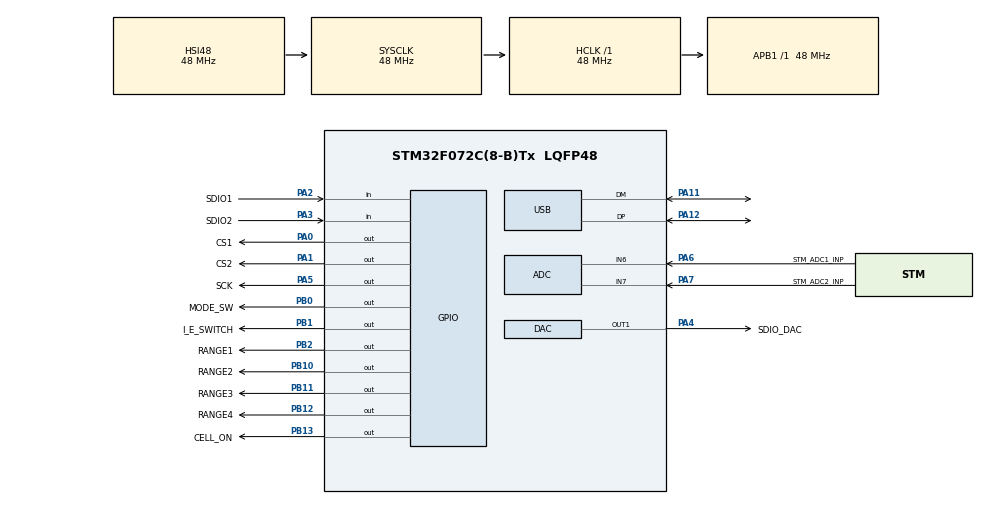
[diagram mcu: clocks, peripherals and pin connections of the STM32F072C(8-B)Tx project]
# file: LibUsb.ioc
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ADC.ContinuousConvMode=DISABLE
ADC.SamplingTime=ADC_SAMPLETIME_71CYCLES_5
Mcu.Family=STM32F0
Mcu.Name=STM32F072C(8-B)Tx
Mcu.Package=LQFP48
NVIC.ADC1_COMP_IRQn=true\:0\:0\:false\:false\:true\:true\:true
NVIC.USB_IRQn=true\:0\:0\:false\:false\:true\:true\:true
PA0.GPIO_Label=CS1
PA0.PinState=GPIO_PIN_SET
PA0.Signal=GPIO_Output
PA1.GPIO_Label=CS2
PA1.PinState=GPIO_PIN_SET
PA1.Signal=GPIO_Output
PA11.Mode=Device
PA11.Signal=USB_DM
PA12.Mode=Device
PA12.Signal=USB_DP
PA13.Mode=Serial_Wire
PA13.Signal=SYS_SWDIO
PA14.Mode=Serial_Wire
PA14.Signal=SYS_SWCLK
PA2.GPIO_Label=SDIO1
PA2.GPIO_Mode=GPIO_MODE_INPUT
PA2.GPIO_PuPd=GPIO_PULLUP
PA2.Signal=GPIO_Input
PA3.GPIO_Label=SDIO2
PA3.GPIO_Mode=GPIO_MODE_INPUT
PA3.GPIO_PuPd=GPIO_PULLUP
PA3.Signal=GPIO_Input
PA4.GPIO_Label=SDIO_DAC
PA4.Signal=COMP_DAC1_group
PA5.GPIO_Label=SCK
PA5.Signal=GPIO_Output
PA6.GPIO_Label=STM_ADC1_INP
PA6.Mode=IN6
PA6.Signal=ADC_IN6
PA7.GPIO_Label=STM_ADC2_INP
PA7.Mode=IN7
PA7.Signal=ADC_IN7
PB0.GPIO_Label=MODE_SW
PB0.Signal=GPIO_Output
PB1.GPIO_Label=I_E_SWITCH
PB1.GPIO_PuPd=GPIO_PULLDOWN
PB1.Signal=GPIO_Output
PB10.GPIO_Label=RANGE2
PB10.Signal=GPIO_Output
PB11.GPIO_Label=RANGE3
PB11.Signal=GPIO_Output
PB12.GPIO_Label=RANGE4
PB12.Signal=GPIO_Output
PB13.GPIO_Label=CELL_ON
PB13.Signal=GPIO_Output
PB2.GPIO_Label=RANGE1
PB2.Signal=GPIO_Output
PF0-OSC_IN.Mode=HSE-External-Oscillator
PF0-OSC_IN.Signal=RCC_OSC_IN
PF1-OSC_OUT.Mode=HSE-External-Oscillator
PF1-OSC_OUT.Signal=RCC_OSC_OUT
ProjectManager.HeapSize=0x800
ProjectManager.StackSize=0x400
ProjectManager.TargetToolchain=STM32CubeIDE
RCC.AHBFreq_Value=48000000
RCC.APB1Freq_Value=48000000
RCC.APB1TimFreq_Value=48000000
RCC.HCLKFreq_Value=48000000
RCC.PLLMUL=RCC_PLL_MUL6
RCC.PLLSourceVirtual=RCC_PLLSOURCE_HSE
RCC.SYSCLKFreq_VALUE=48000000
RCC.SYSCLKSource=RCC_SYSCLKSOURCE_HSI48
SH.COMP_DAC1_group.0=DAC_OUT1,DAC_OUT1
TIM1.Period=0xFFFF-1
TIM1.Prescaler=1-1
USB_DEVICE.CLASS_NAME_FS=CDC
USB_DEVICE.PID_CDC_FS=0x0003
USB_DEVICE.PRODUCT_STRING_CDC_FS=OESP_STM
USB_DEVICE.VID=0xA0A0
USB_DEVICE.VirtualMode=Cdc
USB_DEVICE.VirtualModeFS=Cdc_FS
VP_TIM1_VS_ClockSourceINT.Mode=Internal
VP_USB_DEVICE_VS_USB_DEVICE_CDC_FS.Mode=CDC_FS
board=custom

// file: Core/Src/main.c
/* USER CODE BEGIN Header */
/**
  ******************************************************************************
  * @file           : main.c
  * @brief          : Main program body
  ******************************************************************************
  * @attention
  *
  * <h2><center>&copy; Copyright (c) 2022 STMicroelectronics.
  * All rights reserved.</center></h2>
  *
  * This software component is licensed by ST under Ultimate Liberty license
  * SLA0044, the "License"; You may not use this file except in compliance with
  * the License. You may obtain a copy of the License at:
  *                             www.st.com/SLA0044
  *
  ******************************************************************************
  */
/* USER CODE END Header */
#include "main.h"
#include "usb_device.h"

/* USER CODE BEGIN Includes */
#include "spi_software.h"
#include "HEFlash.h"
#include "string.h"
#include "usbd_cdc_if.h"
/* USER CODE END Includes */

/* USER CODE BEGIN PD */
#define HEFLASH_SIZE  32
#define ADC_INTERNAL  false
#define V_Ref     (float) 2.5
/* USER CODE END PD */

ADC_HandleTypeDef hadc;

DAC_HandleTypeDef hdac;

TIM_HandleTypeDef htim1;

/* USER CODE BEGIN PV */

typedef enum Adc_Interal{
	V_MEASURE = 0U,
	I_MEASURE,
	WAIT_MEASURE
};

uint8_t adc_Internal[6];
enum Adc_Interal adcConvert = WAIT_MEASURE;
bool isActiveAdcInternal = false;
volatile bool isUpdate = true;
static const uint8_t* received_data;
static uint8_t received_data_length;
static uint8_t transmit_data[128];
static uint8_t transmit_data_length;
static uint8_t heflashbuffer[HEFLASH_SIZE];
extern uint8_t isRecvData;
extern uint8_t UserRxBufferFS[APP_RX_DATA_SIZE];
extern uint8_t recvDataLen;
volatile uint32_t adc_value = 0U;

/* USER CODE END PV */

void SystemClock_Config(void);
static void MX_GPIO_Init(void);
static void MX_TIM1_Init(void);
static void MX_ADC_Init(void);
static void MX_DAC_Init(void);

/* USER CODE BEGIN 0 */
void Adc_read_V_Measure(void)
{
  ADC_ChannelConfTypeDef sConfig = {0};
  sConfig.Channel = ADC_CHANNEL_6;
  sConfig.Rank = ADC_RANK_CHANNEL_NUMBER;
  sConfig.SamplingTime = ADC_SAMPLETIME_71CYCLES_5;
  if (HAL_ADC_ConfigChannel(&hadc, &sConfig) != HAL_OK)
  {
    Error_Handler();
  }
}

void Adc_read_I_Measure(void)
{
  ADC_ChannelConfTypeDef sConfig = {0};
  sConfig.Channel = ADC_CHANNEL_7;
  sConfig.Rank = ADC_RANK_CHANNEL_NUMBER;
  sConfig.SamplingTime = ADC_SAMPLETIME_71CYCLES_5;
  if (HAL_ADC_ConfigChannel(&hadc, &sConfig) != HAL_OK)
  {
    Error_Handler();
  }
}

void InitializeIO()
{
	HAL_TIM_Base_Start(&htim1);
	HAL_GPIO_WritePin(MODE_SW_GPIO_Port, MODE_SW_Pin, GPIO_PIN_RESET); // initialize mode to potentiostatic
	HAL_GPIO_WritePin(CELL_ON_GPIO_Port, CELL_ON_Pin, GPIO_PIN_SET);// initialize cell to off position
	HAL_GPIO_WritePin(RANGE1_GPIO_Port, RANGE1_Pin, GPIO_PIN_RESET); // initialize range to range 1
	HAL_GPIO_WritePin(RANGE2_GPIO_Port, RANGE2_Pin, GPIO_PIN_SET);
	HAL_GPIO_WritePin(RANGE3_GPIO_Port, RANGE3_Pin, GPIO_PIN_SET);
	HAL_GPIO_WritePin(RANGE4_GPIO_Port, RANGE4_Pin, GPIO_PIN_SET);
	InitializeSPI();
	HAL_Delay(25); // power-up delay - necessary for DAC1220
	DAC1220_Reset();
	HAL_Delay(25);
	DAC1220_Init();
	HEFLASH_readBlock(heflashbuffer, 2, HEFLASH_SIZE); // get dac calibration
	DAC1220_Write3Bytes(8, heflashbuffer[0], heflashbuffer[1], heflashbuffer[2]); // apply dac calibration
	DAC1220_Write3Bytes(12, heflashbuffer[3], heflashbuffer[4], heflashbuffer[5]);
}

void command_unknown()
{
	const uint8_t* reply = "?";
    strcpy(transmit_data, reply);
    transmit_data_length = strlen(reply);
}

void send_OK()
{
	const uint8_t* reply = "OK";
    strcpy(transmit_data, reply);
    transmit_data_length = strlen(reply);
}

void command_cell_on()
{
	HAL_GPIO_WritePin(CELL_ON_GPIO_Port, CELL_ON_Pin, GPIO_PIN_RESET);
	send_OK();
}

void command_cell_off()
{
	HAL_GPIO_WritePin(CELL_ON_GPIO_Port, CELL_ON_Pin, GPIO_PIN_SET);
	send_OK();
}

void command_mode_potentiostatic()
{
	HAL_GPIO_WritePin(MODE_SW_GPIO_Port, MODE_SW_Pin, GPIO_PIN_RESET);
	send_OK();
}

void command_mode_galvanostatic()
{
	HAL_GPIO_WritePin(MODE_SW_GPIO_Port, MODE_SW_Pin, GPIO_PIN_SET);
	send_OK();
}

void command_range1()
{
    HAL_GPIO_WritePin(RANGE1_GPIO_Port, RANGE1_Pin, GPIO_PIN_RESET);
    HAL_Delay(10); // make the new relay setting before breaking the old one
    HAL_GPIO_WritePin(RANGE2_GPIO_Port, RANGE2_Pin, GPIO_PIN_SET);
    HAL_GPIO_WritePin(RANGE3_GPIO_Port, RANGE3_Pin, GPIO_PIN_SET);
    HAL_GPIO_WritePin(RANGE4_GPIO_Port, RANGE4_Pin, GPIO_PIN_SET);
	send_OK();
}

void command_range2()
{
    HAL_GPIO_WritePin(RANGE2_GPIO_Port, RANGE2_Pin, GPIO_PIN_RESET);
    HAL_Delay(10); // make the new relay setting before breaking the old one
    HAL_GPIO_WritePin(RANGE1_GPIO_Port, RANGE1_Pin, GPIO_PIN_SET);
    HAL_GPIO_WritePin(RANGE3_GPIO_Port, RANGE3_Pin, GPIO_PIN_SET);
    HAL_GPIO_WritePin(RANGE4_GPIO_Port, RANGE4_Pin, GPIO_PIN_SET);
	send_OK();
}

void command_range3()
{
    HAL_GPIO_WritePin(RANGE3_GPIO_Port, RANGE3_Pin, GPIO_PIN_RESET);
    HAL_Delay(10); // make the new relay setting before breaking the old one
    HAL_GPIO_WritePin(RANGE1_GPIO_Port, RANGE1_Pin, GPIO_PIN_SET);
    HAL_GPIO_WritePin(RANGE2_GPIO_Port, RANGE2_Pin, GPIO_PIN_SET);
    HAL_GPIO_WritePin(RANGE4_GPIO_Port, RANGE4_Pin, GPIO_PIN_SET);
	  send_OK();
}

void command_range4()
{
    HAL_GPIO_WritePin(RANGE4_GPIO_Port, RANGE4_Pin, GPIO_PIN_RESET);
    HAL_Delay(10); // make the new relay setting before breaking the old one
    HAL_GPIO_WritePin(RANGE1_GPIO_Port, RANGE1_Pin, GPIO_PIN_SET);
    HAL_GPIO_WritePin(RANGE2_GPIO_Port, RANGE2_Pin, GPIO_PIN_SET);
    HAL_GPIO_WritePin(RANGE3_GPIO_Port, RANGE3_Pin, GPIO_PIN_SET);
	send_OK();
}

void command_set_dac_Internal(const uint8_t* dac_data)
{
	uint32_t code = 0x00;
	float dacOut;
	code |= dac_data[0]<<12;
	code |= dac_data[1]<<4;
	code |= dac_data[2]>>4;
	dacOut = (2*V_Ref*code);
	dacOut = dacOut/pow(2,20);
	HAL_DAC_SetValue(&hdac, DAC_CHANNEL_1, DAC_ALIGN_12B_R, (uint32_t)(dacOut));
	send_OK();
}

void command_set_dac(const uint8_t* dac_data)
{
	DAC1220_Write3Bytes(0, dac_data[0], dac_data[1], dac_data[2]);
	send_OK();
}

void command_calibrate_dac()
{
	DAC1220_SelfCal();
	HAL_Delay(500); // wait until calibration is finished
	uint8_t data[6];
	DAC1220_Read3Bytes(8, data, data+1, data+2); // get calibration data
	DAC1220_Read3Bytes(12, data+3, data+4, data+5);
	HEFLASH_writeBlock(2, data, 6); // save calibration data to HEFLASH
	send_OK();
}

void command_read_adc_Internal()
{
  transmit_data_length = 6;
  memcpy(transmit_data, adc_Internal, transmit_data_length);
}

void command_read_adc()
{
	uint8_t adc_data[6];
	if(MCP3550_Read(adc_data))
	{
		transmit_data_length=6;
		memcpy(transmit_data, adc_data, transmit_data_length);
	}
	else
	{
		const uint8_t* reply = "WAIT";
		strcpy(transmit_data, reply);
		transmit_data_length = strlen(reply);
	}
}

void command_read_offset()
{
	HEFLASH_readBlock(heflashbuffer, 1, HEFLASH_SIZE);
	transmit_data_length=6;
	memcpy(transmit_data, heflashbuffer, transmit_data_length);
}

void command_save_offset(const uint8_t* offset_data)
{
	HEFLASH_writeBlock(1, offset_data, 6);
}

void command_read_shuntcalibration()
{
	HEFLASH_readBlock(heflashbuffer, 3, HEFLASH_SIZE);
	transmit_data_length=8;
	memcpy(transmit_data, heflashbuffer, transmit_data_length);
}

void command_save_shuntcalibration(const uint8_t* shuntcalibration_data)
{
	HEFLASH_writeBlock(3, shuntcalibration_data, 8);
	send_OK();
}

void command_read_dac_cal()
{
	HEFLASH_readBlock(heflashbuffer, 2, HEFLASH_SIZE);
	transmit_data_length = 6;
	memcpy(transmit_data, heflashbuffer, transmit_data_length);
}

void command_set_dac_cal(const uint8_t* dac_cal_data)
{
	HEFLASH_writeBlock(2, dac_cal_data, 6);
	DAC1220_Write3Bytes(8, dac_cal_data[0], dac_cal_data[1], dac_cal_data[2]);
	DAC1220_Write3Bytes(12, dac_cal_data[3], dac_cal_data[4], dac_cal_data[5]);
	send_OK();
}

void interpret_command() {
	if (received_data_length == 7 && strncmp(received_data,"CELL ON",7) == 0)
        command_cell_on();
    else if (received_data_length == 8 && strncmp(received_data,"CELL OFF",8) == 0)
        command_cell_off();
    else if (received_data_length == 14 && strncmp(received_data,"POTENTIOSTATIC",14) == 0)
        command_mode_potentiostatic();
    else if (received_data_length == 13 && strncmp(received_data,"GALVANOSTATIC",13) == 0)
        command_mode_galvanostatic();
    else if (received_data_length == 7 && strncmp(received_data,"RANGE 1",7) == 0)
        command_range1();
    else if (received_data_length == 7 && strncmp(received_data,"RANGE 2",7) == 0)
        command_range2();
    else if (received_data_length == 7 && strncmp(received_data,"RANGE 3",7) == 0)
        command_range3();
    else if (received_data_length == 7 && strncmp(received_data,"RANGE 4",7) == 0)
        command_range4();
    else if (received_data_length == 10 && strncmp(received_data,"DACSET ",7) == 0)
#if ADC_INTERNAL
    	command_set_dac_Internal(received_data+7);
#else
      command_set_dac(received_data+7);
#endif
    else if (received_data_length == 6 && strncmp(received_data,"DACCAL",6) == 0)
    	command_calibrate_dac();
    else if (received_data_length == 7 && strncmp(received_data,"ADCREAD",7) == 0)
#if ADC_INTERNAL
    	command_read_adc_Internal();
#else
      command_read_adc();
#endif
    else if (received_data_length == 10 && strncmp(received_data,"OFFSETREAD",10) == 0)
    	command_read_offset();
    else if (received_data_length == 17 && strncmp(received_data,"OFFSETSAVE ",11) == 0)
    	command_save_offset(received_data+11);
    else if (received_data_length == 9 && strncmp(received_data,"DACCALGET",9) == 0)
    	command_read_dac_cal();
    else if (received_data_length == 16 && strncmp(received_data,"DACCALSET ",10) == 0)
    	command_set_dac_cal(received_data+10);
    else if (received_data_length == 12 && strncmp(received_data,"SHUNTCALREAD",12) == 0)
    	command_read_shuntcalibration();
    else if (received_data_length == 19 && strncmp(received_data,"SHUNTCALSAVE ",13) == 0)
    	command_save_shuntcalibration(received_data+13);
    else
        command_unknown();
}

void HAL_ADC_ConvCpltCallback(ADC_HandleTypeDef* hadc)
{
	adc_value = HAL_ADC_GetValue(hadc);
	adc_value = adc_value*2097152/4096;
  if(adcConvert == V_MEASURE)
  {
    /* update three byte 0 1 2*/
    adc_Internal[0] =	(uint8_t) ((adc_value>>16) & 0xFF);
    adc_Internal[1] =	(uint8_t) ((adc_value>>8) & 0xFF);
    adc_Internal[2] =	(uint8_t) ((adc_value>>0) & 0xFF);
  }
  else if(adcConvert == I_MEASURE)
  {
    /* update three byte 3 4 5*/
	 adc_Internal[3] =	(uint8_t) ((adc_value>>16) & 0xFF);
	 adc_Internal[4] =	(uint8_t) ((adc_value>>8) & 0xFF);
	 adc_Internal[5] =	(uint8_t) ((adc_value>>0) & 0xFF);
  }
  isUpdate = true;
}

void updateAdcInternal(void)
{
  static uint8_t adcProcess = 0;

  if(isActiveAdcInternal == true)
  {
      if(adcProcess == 0)
      {
        adcConvert = V_MEASURE;
        adcProcess = 1;
        isUpdate = false;
        Adc_read_V_Measure();
        HAL_ADC_Start_IT(&hadc);
      }
      else if(adcProcess == 1)
      {
        if(isUpdate == true)
        {
          HAL_ADC_Stop_IT(&hadc);
          adcConvert = I_MEASURE;
          adcProcess = 2;
          isUpdate = false;
          Adc_read_I_Measure();
          HAL_ADC_Start_IT(&hadc);
        }
      }
      else if(adcProcess == 2)
      {
        if(isUpdate == true)
        {
          adcProcess = 0;
          HAL_ADC_Stop_IT(&hadc);
        }
      }
      else
      {
      }
  }
}

void isActiveAdcDacInteral(void)
{
  MX_DAC_Init();
  HAL_GPIO_WritePin(I_E_SWITCH_GPIO_Port, I_E_SWITCH_Pin, GPIO_PIN_SET);
  isActiveAdcInternal = true;
  HAL_DAC_Start(&hdac, DAC_CHANNEL_1);
}
/* USER CODE END 0 */

int main(void)
{

  /* MCU Configuration--------------------------------------------------------*/

  /* Reset of all peripherals, Initializes the Flash interface and the Systick. */
  HAL_Init();

  /* Configure the system clock */
  SystemClock_Config();

  /* Initialize all configured peripherals */
  MX_GPIO_Init();
  MX_USB_DEVICE_Init();
  MX_TIM1_Init();
  MX_ADC_Init();

  /* USER CODE BEGIN 2 */
  InitializeIO();

#if ADC_INTERNAL
  isActiveAdcDacInteral();
#endif
  /* USER CODE END 2 */

  /* Infinite loop */
  /* USER CODE BEGIN WHILE */
  while (1)
  {
	  /* Receive data */
	  if( 1U == isRecvData)
	  {
		 /* clear flag */
		  isRecvData = 0U;

		  /* get memory length of received data */
		  received_data_length = recvDataLen;

		  /* get memory location of received data*/
		  received_data = UserRxBufferFS;

		  interpret_command();

		  CDC_Transmit_FS(transmit_data, transmit_data_length);
	  }

	  updateAdcInternal();

    /* USER CODE END WHILE */

  }
}

void SystemClock_Config(void)
{
  RCC_OscInitTypeDef RCC_OscInitStruct = {0};
  RCC_ClkInitTypeDef RCC_ClkInitStruct = {0};
  RCC_PeriphCLKInitTypeDef PeriphClkInit = {0};

  /** Initializes the RCC Oscillators according to the specified parameters
  * in the RCC_OscInitTypeDef structure.
  */
  RCC_OscInitStruct.OscillatorType = RCC_OSCILLATORTYPE_HSI14|RCC_OSCILLATORTYPE_HSI48;
  RCC_OscInitStruct.HSI48State = RCC_HSI48_ON;
  RCC_OscInitStruct.HSI14State = RCC_HSI14_ON;
  RCC_OscInitStruct.HSI14CalibrationValue = 16;
  RCC_OscInitStruct.PLL.PLLState = RCC_PLL_NONE;
  if (HAL_RCC_OscConfig(&RCC_OscInitStruct) != HAL_OK)
  {
    Error_Handler();
  }
  /** Initializes the CPU, AHB and APB buses clocks
  */
  RCC_ClkInitStruct.ClockType = RCC_CLOCKTYPE_HCLK|RCC_CLOCKTYPE_SYSCLK
                              |RCC_CLOCKTYPE_PCLK1;
  RCC_ClkInitStruct.SYSCLKSource = RCC_SYSCLKSOURCE_HSI48;
  RCC_ClkInitStruct.AHBCLKDivider = RCC_SYSCLK_DIV1;
  RCC_ClkInitStruct.APB1CLKDivider = RCC_HCLK_DIV1;

  if (HAL_RCC_ClockConfig(&RCC_ClkInitStruct, FLASH_LATENCY_1) != HAL_OK)
  {
    Error_Handler();
  }
  PeriphClkInit.PeriphClockSelection = RCC_PERIPHCLK_USB;
  PeriphClkInit.UsbClockSelection = RCC_USBCLKSOURCE_HSI48;

  if (HAL_RCCEx_PeriphCLKConfig(&PeriphClkInit) != HAL_OK)
  {
    Error_Handler();
  }
}

static void MX_ADC_Init(void)
{

  ADC_ChannelConfTypeDef sConfig = {0};

  /** Configure the global features of the ADC (Clock, Resolution, Data Alignment and number of conversion)
  */
  hadc.Instance = ADC1;
  hadc.Init.ClockPrescaler = ADC_CLOCK_ASYNC_DIV1;
  hadc.Init.Resolution = ADC_RESOLUTION_12B;
  hadc.Init.DataAlign = ADC_DATAALIGN_RIGHT;
  hadc.Init.ScanConvMode = ADC_SCAN_DIRECTION_FORWARD;
  hadc.Init.EOCSelection = ADC_EOC_SINGLE_CONV;
  hadc.Init.LowPowerAutoWait = DISABLE;
  hadc.Init.LowPowerAutoPowerOff = DISABLE;
  hadc.Init.ContinuousConvMode = DISABLE;
  hadc.Init.DiscontinuousConvMode = DISABLE;
  hadc.Init.ExternalTrigConv = ADC_SOFTWARE_START;
  hadc.Init.ExternalTrigConvEdge = ADC_EXTERNALTRIGCONVEDGE_NONE;
  hadc.Init.DMAContinuousRequests = DISABLE;
  hadc.Init.Overrun = ADC_OVR_DATA_PRESERVED;
  if (HAL_ADC_Init(&hadc) != HAL_OK)
  {
    Error_Handler();
  }
  /** Configure for the selected ADC regular channel to be converted.
  */
  // sConfig.Channel = ADC_CHANNEL_6;
  // sConfig.Rank = ADC_RANK_CHANNEL_NUMBER;
  // sConfig.SamplingTime = ADC_SAMPLETIME_71CYCLES_5;
  // if (HAL_ADC_ConfigChannel(&hadc, &sConfig) != HAL_OK)
  // {
  //   Error_Handler();
  // }
  // /** Configure for the selected ADC regular channel to be converted.
  // */
  // sConfig.Channel = ADC_CHANNEL_7;
  // if (HAL_ADC_ConfigChannel(&hadc, &sConfig) != HAL_OK)
  // {
  //   Error_Handler();
  // }

}

static void MX_DAC_Init(void)
{

  DAC_ChannelConfTypeDef sConfig = {0};

  /** DAC Initialization
  */
  hdac.Instance = DAC;
  if (HAL_DAC_Init(&hdac) != HAL_OK)
  {
    Error_Handler();
  }
  /** DAC channel OUT1 config
  */
  sConfig.DAC_Trigger = DAC_TRIGGER_NONE;
  sConfig.DAC_OutputBuffer = DAC_OUTPUTBUFFER_ENABLE;
  if (HAL_DAC_ConfigChannel(&hdac, &sConfig, DAC_CHANNEL_1) != HAL_OK)
  {
    Error_Handler();
  }

}

static void MX_TIM1_Init(void)
{

  TIM_ClockConfigTypeDef sClockSourceConfig = {0};
  TIM_MasterConfigTypeDef sMasterConfig = {0};

  htim1.Instance = TIM1;
  htim1.Init.Prescaler = 1-1;
  htim1.Init.CounterMode = TIM_COUNTERMODE_UP;
  htim1.Init.Period = 0xFFFF-1;
  htim1.Init.ClockDivision = TIM_CLOCKDIVISION_DIV1;
  htim1.Init.RepetitionCounter = 0;
  htim1.Init.AutoReloadPreload = TIM_AUTORELOAD_PRELOAD_DISABLE;
  if (HAL_TIM_Base_Init(&htim1) != HAL_OK)
  {
    Error_Handler();
  }
  sClockSourceConfig.ClockSource = TIM_CLOCKSOURCE_INTERNAL;
  if (HAL_TIM_ConfigClockSource(&htim1, &sClockSourceConfig) != HAL_OK)
  {
    Error_Handler();
  }
  sMasterConfig.MasterOutputTrigger = TIM_TRGO_RESET;
  sMasterConfig.MasterSlaveMode = TIM_MASTERSLAVEMODE_DISABLE;
  if (HAL_TIMEx_MasterConfigSynchronization(&htim1, &sMasterConfig) != HAL_OK)
  {
    Error_Handler();
  }

}

static void MX_GPIO_Init(void)
{
  GPIO_InitTypeDef GPIO_InitStruct = {0};

  /* GPIO Ports Clock Enable */
  __HAL_RCC_GPIOF_CLK_ENABLE();
  __HAL_RCC_GPIOA_CLK_ENABLE();
  __HAL_RCC_GPIOB_CLK_ENABLE();

  /*Configure GPIO pin Output Level */
  HAL_GPIO_WritePin(GPIOA, CS1_Pin|CS2_Pin, GPIO_PIN_SET);

  /*Configure GPIO pin Output Level */
  HAL_GPIO_WritePin(GPIOA, SDIO_DAC_Pin|SCK_Pin, GPIO_PIN_RESET);

  /*Configure GPIO pin Output Level */
  HAL_GPIO_WritePin(GPIOB, MODE_SW_Pin|I_E_SWITCH_Pin|RANGE1_Pin|RANGE2_Pin
                          |RANGE3_Pin|RANGE4_Pin|CELL_ON_Pin, GPIO_PIN_RESET);

  /*Configure GPIO pins : CS1_Pin CS2_Pin SDIO_DAC_Pin SCK_Pin */
  GPIO_InitStruct.Pin = CS1_Pin|CS2_Pin|SDIO_DAC_Pin|SCK_Pin;
  GPIO_InitStruct.Mode = GPIO_MODE_OUTPUT_PP;
  GPIO_InitStruct.Pull = GPIO_NOPULL;
  GPIO_InitStruct.Speed = GPIO_SPEED_FREQ_LOW;
  HAL_GPIO_Init(GPIOA, &GPIO_InitStruct);

  /*Configure GPIO pins : SDIO1_Pin SDIO2_Pin */
  GPIO_InitStruct.Pin = SDIO1_Pin|SDIO2_Pin;
  GPIO_InitStruct.Mode = GPIO_MODE_INPUT;
  GPIO_InitStruct.Pull = GPIO_PULLUP;
  HAL_GPIO_Init(GPIOA, &GPIO_InitStruct);

  /*Configure GPIO pins : MODE_SW_Pin RANGE1_Pin RANGE2_Pin RANGE3_Pin
                           RANGE4_Pin CELL_ON_Pin */
  GPIO_InitStruct.Pin = MODE_SW_Pin|RANGE1_Pin|RANGE2_Pin|RANGE3_Pin
                          |RANGE4_Pin|CELL_ON_Pin;
  GPIO_InitStruct.Mode = GPIO_MODE_OUTPUT_PP;
  GPIO_InitStruct.Pull = GPIO_NOPULL;
  GPIO_InitStruct.Speed = GPIO_SPEED_FREQ_LOW;
  HAL_GPIO_Init(GPIOB, &GPIO_InitStruct);

  /*Configure GPIO pin : I_E_SWITCH_Pin */
  GPIO_InitStruct.Pin = I_E_SWITCH_Pin;
  GPIO_InitStruct.Mode = GPIO_MODE_OUTPUT_PP;
  GPIO_InitStruct.Pull = GPIO_PULLDOWN;
  GPIO_InitStruct.Speed = GPIO_SPEED_FREQ_LOW;
  HAL_GPIO_Init(I_E_SWITCH_GPIO_Port, &GPIO_InitStruct);

}

void Error_Handler(void)
{
}

/************************ (C) COPYRIGHT STMicroelectronics *****END OF FILE****/
